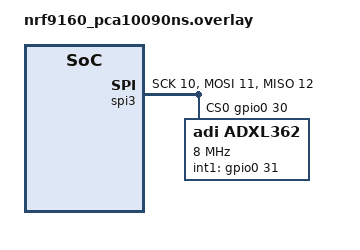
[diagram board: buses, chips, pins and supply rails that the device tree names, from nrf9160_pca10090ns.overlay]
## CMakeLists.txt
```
#
# Copyright (c) 2018 Nordic Semiconductor
#
# SPDX-License-Identifier: LicenseRef-BSD-5-Clause-Nordic
#

cmake_minimum_required(VERSION 3.8.2)

include(../../cmake/boilerplate.cmake)

include($ENV{ZEPHYR_BASE}/cmake/app/boilerplate.cmake NO_POLICY_SCOPE)
project(cat_tracker)

# NORDIC SDK APP START
target_sources(app PRIVATE src/main.c)
# NORDIC SDK APP END

# Include source directory
zephyr_include_directories(src)

# Application directories
add_subdirectory(src/gps_controller)
add_subdirectory(src/ui)
add_subdirectory(src/cloud_codec)
```

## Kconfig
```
#
# Copyright (c) 2018 Nordic Semiconductor ASA
#
# SPDX-License-Identifier: LicenseRef-BSD-5-Clause-Nordic
#

menu "Cat Tracker sample"

rsource "src/ui/Kconfig"

menu "GPS"

choice
	prompt "GPS device"
	default GPS_USE_SIM
	help
		Select from which device GPS data will be fetched.

config GPS_USE_SIM
	bool "Use GPS simulator"
	select GPS_SIM
	select GPS_SIM_TRIGGER
	help
		Use simulated GPS data.

config GPS_USE_EXTERNAL
	bool "User provided GPS device"
	help
		Provide a GPS device that location data will be fetched from and
		sent to nRF Cloud

endchoice

rsource "src/gps_controller/Kconfig"

config GPS_DEV_NAME
	string "GPS device name"
	default GPS_SIM_DEV_NAME if GPS_USE_SIM
	help
		GPS device from which location data will be fetched and sent
		to nRF Cloud.

config GPS_TRIGGER
	bool
	default GPS_SIM_TRIGGER if GPS_USE_SIM

config GPS_SIM_TRIGGER_TIMER_MSEC
	int
	default 120000 if POWER_OPTIMIZATION_ENABLE
	default 2000

endmenu	# GPS

menu "Firmware versioning"

config CAT_TRACKER_APP_VERSION
	string "The version of the cat tracker firmware"
	default "0.0.0-development"

endmenu # Firmware versioning

config POWER_OPTIMIZATION_ENABLE
	bool "Enable power optimization"
	default y
	select LTE_EDRX_REQ

menu "Cloud socket poll"

config CLOUD_BACKEND
	string
	default "AWS_IOT"

config MQTT_KEEPALIVE
	int
	default 1200

config CLOUD_POLL_STACKSIZE
	int
	default 4096

config CLOUD_POLL_PRIORITY
	int
	default 7

endmenu # Cloud socket poll

menu "Cloud codec"

config SERIALIZATION_JSON
	bool "Cloud communication enconding"
	default y
	select CJSON_LIB

config CIRCULAR_SENSOR_BUFFER_MAX
	int "Maximum amount of buffered sensor entries"
	default 10

config MAX_PER_ENCODED_ENTRIES
	int "Maximum amount of encoded and published sensor buffer entries"
	default 7

endmenu # Cloud codec

endmenu

menu "Zephyr Kernel"
source "$ZEPHYR_BASE/Kconfig.zephyr"
endmenu

module = CAT_TRACKER
module-str = Cat Tracker
source "${ZEPHYR_BASE}/subsys/logging/Kconfig.template.log_config"
```

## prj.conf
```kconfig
#
# Copyright (c) 2019 Nordic Semiconductor ASA
#
# SPDX-License-Identifier: LicenseRef-BSD-5-Clause-Nordic
#

# General config
CONFIG_NEWLIB_LIBC=y
CONFIG_NEWLIB_LIBC_FLOAT_PRINTF=y
CONFIG_ASSERT=y
CONFIG_REBOOT=y
CONFIG_LOG=y
CONFIG_LOG_IMMEDIATE=y

# Network
CONFIG_NETWORKING=y
CONFIG_NET_SOCKETS=y
CONFIG_NET_SOCKETS_OFFLOAD=y

# LTE link control
CONFIG_LTE_LINK_CONTROL=y
CONFIG_LTE_AUTO_INIT_AND_CONNECT=n
CONFIG_LTE_LINK_CONTROL_LOG_LEVEL_DBG=y

CONFIG_LTE_NETWORK_MODE_NBIOT_GPS=y
CONFIG_LTE_LEGACY_PCO_MODE=y
CONFIG_LTE_PSM_REQ_RPTAU="00000110"
CONFIG_LTE_PSM_REQ_RAT="00000000"

# Modem info
CONFIG_MODEM_INFO=y

# BSD library
CONFIG_BSD_LIBRARY=y
CONFIG_BSD_LIBRARY_TRACE_ENABLED=n

# Bifravst Cloud
CONFIG_CLOUD_API=y
CONFIG_BIFRAVST_CLOUD=y
CONFIG_BIFRAVST_CLOUD_LOG_LEVEL_DBG=y

# GPS
CONFIG_NRF9160_GPS=y
CONFIG_GPS_SIM=n
CONFIG_NRF9160_GPS_LOG_LEVEL_DBG=y
CONFIG_GPS_USE_EXTERNAL=y
CONFIG_GPS_DEV_NAME="NRF9160_GPS"

CONFIG_GPS_CONTROL=y
CONFIG_GPS_CONTROL_FIRST_FIX_CHECK_DELAY=10
CONFIG_GPS_CONTROL_FIX_CHECK_INTERVAL=30
CONFIG_GPS_CONTROL_FIX_TRY_TIME=360
CONFIG_GPS_CONTROL_PSM_ENABLE_ON_START=y
CONFIG_GPS_CONTROL_PSM_DISABLE_ON_STOP=n

# ADXL362
CONFIG_ADXL362=y
CONFIG_SPI=y
CONFIG_SENSOR=y
CONFIG_ADXL362_TRIGGER_GLOBAL_THREAD=y
CONFIG_ADXL362_INTERRUPT_MODE=1
CONFIG_ADXL362_ABS_REF_MODE=1
CONFIG_ADXL362_ACTIVITY_THRESHOLD=400
CONFIG_ADXL362_INACTIVITY_THRESHOLD=300

# Console
CONFIG_CONSOLE_SUBSYS=y
CONFIG_CONSOLE_HANDLER=y
CONFIG_CONSOLE_GETCHAR=y

# Heap and stacks
CONFIG_HEAP_MEM_POOL_SIZE=16384
CONFIG_MAIN_STACK_SIZE=8192
CONFIG_SYSTEM_WORKQUEUE_STACK_SIZE=2048
CONFIG_HW_STACK_PROTECTION=y

# Disable native network stack to save some memory
CONFIG_NET_IPV4=n
CONFIG_NET_IPV6=n
CONFIG_NET_UDP=n
CONFIG_NET_TCP=n

# Settings
CONFIG_FLASH=y
CONFIG_FLASH_PAGE_LAYOUT=y
CONFIG_FLASH_MAP=y
CONFIG_FCB=y
CONFIG_SETTINGS=y
CONFIG_SETTINGS_FCB=y
CONFIG_MPU_ALLOW_FLASH_WRITE=y

# MCUBOOT
CONFIG_BOOTLOADER_MCUBOOT=y
CONFIG_IMG_MANAGER=y
CONFIG_MCUBOOT_IMG_MANAGER=y
CONFIG_IMG_ERASE_PROGRESSIVELY=y

# AWS FOTA
CONFIG_AWS_FOTA=y
CONFIG_AWS_FOTA_LOG_LEVEL_DBG=y
CONFIG_AWS_JOBS_LOG_LEVEL_DBG=y
CONFIG_AWS_FOTA_VERSION_STRING_MAX_LEN=128
CONFIG_DFU_TARGET=y

# Download client (needed by AWS FOTA)
CONFIG_DOWNLOAD_CLIENT=y
CONFIG_DOWNLOAD_CLIENT_STACK_SIZE=4096

# Time managing
CONFIG_NRF9160_TIMESTAMP=y
CONFIG_NRF9160_TIMESTAMP_LOG_LEVEL_DBG=y

# Fatal error
CONFIG_RESET_ON_FATAL_ERROR=n
```

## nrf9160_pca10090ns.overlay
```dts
&spi3 {
	status = "ok";
	sck-pin = <10>;
	mosi-pin = <11>;
	miso-pin = <12>;
	cs-gpios = <&gpio0 30 0>, <&gpio0 7 0>;

	adxl362@0 {
		compatible = "adi,adxl362";
		label = "ADXL362";
		spi-max-frequency = <8000000>;
		reg = <0>;
		int1-gpios = <&gpio0 31 0>;
	};
};
```

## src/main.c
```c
#include <zephyr.h>
#include <stdio.h>
#include <string.h>
#include <logging/log_ctrl.h>
#include <power/reboot.h>
#include <device.h>
#include <sensor.h>
#include <drivers/gps.h>
#include <gps_controller.h>
#include <ui.h>
#include <net/cloud.h>
#include <cloud_codec.h>
#include <lte_lc.h>
#include <stdlib.h>
#include <modem_info.h>
#include <time.h>
#include <net/socket.h>
#include <dfu/mcuboot.h>
#include <nrf9160_timestamp.h>

#include <logging/log.h>
LOG_MODULE_REGISTER(cat_tracker, CONFIG_CAT_TRACKER_LOG_LEVEL);

#define AWS_CLOUD_CLIENT_ID_LEN 15
#define AWS "$aws/things/"
#define AWS_LEN (sizeof(AWS) - 1)
#define CFG_TOPIC AWS "%s/shadow/get/accepted/desired/cfg"
#define CFG_TOPIC_LEN (AWS_LEN + AWS_CLOUD_CLIENT_ID_LEN + 32)
#define BATCH_TOPIC "%s/batch"
#define BATCH_TOPIC_LEN (AWS_CLOUD_CLIENT_ID_LEN + 6)

enum lte_conn_actions {
	LTE_INIT,
	CHECK_LTE_CONNECTION,
};

static struct cloud_data_gps cir_buf_gps[CONFIG_CIRCULAR_SENSOR_BUFFER_MAX];

static struct cloud_data cloud_data = {
				.gps_timeout = 60,
				.active = true,
				.active_wait = 60,
				.passive_wait = 60,
				.movement_timeout = 3600,
				.accel_threshold = 100,
				.gps_found = false };

static struct cloud_endpoint sub_ep_topics_sub[1];
static struct cloud_endpoint pub_ep_topics_sub[1];

static char client_id_buf[AWS_CLOUD_CLIENT_ID_LEN + 1];
static char batch_topic[BATCH_TOPIC_LEN + 1];
static char cfg_topic[CFG_TOPIC_LEN + 1];

static struct modem_param_info modem_param;
static struct cloud_backend *cloud_backend;

static bool queued_entries;
static bool cloud_connected;

static int rsrp;
static int head_cir_buf;
static int num_queued_entries;

static struct k_delayed_work cloud_config_get_work;
static struct k_delayed_work cloud_send_sensor_data_work;
static struct k_delayed_work cloud_send_modem_data_work;
static struct k_delayed_work cloud_send_modem_data_dyn_work;
static struct k_delayed_work cloud_send_cfg_work;
static struct k_delayed_work cloud_send_buffered_data_work;
static struct k_delayed_work set_led_device_mode_work;
static struct k_delayed_work movement_timeout_work;

K_SEM_DEFINE(accel_trig_sem, 0, 1);
K_SEM_DEFINE(gps_timeout_sem, 0, 1);
K_SEM_DEFINE(cloud_conn_sem, 0, 1);

void error_handler(int err_code)
{
	LOG_ERR("err_handler, error code: %d", err_code);
	ui_led_set_pattern(UI_LED_ERROR_SYSTEM_FAULT);

#if !defined(CONFIG_DEBUG) && defined(CONFIG_REBOOT)
	LOG_PANIC();
	sys_reboot(0);
#else
	while (true) {
		k_cpu_idle();
	}
#endif
}

void bsd_recoverable_error_handler(uint32_t err)
{
	error_handler((int)err);
}

void k_sys_fatal_error_handler(unsigned int reason, const z_arch_esf_t *esf)
{
	ARG_UNUSED(esf);

	LOG_PANIC();
	LOG_ERR("k_sys_fatal_error_handler, error: %d", reason);
	error_handler(reason);
	CODE_UNREACHABLE;
}

static int lte_connect(enum lte_conn_actions action)
{
	int err;

	enum lte_lc_nw_reg_status nw_reg_status;

	ui_led_set_pattern(UI_LTE_CONNECTING);

	if (action == LTE_INIT) {
		if (IS_ENABLED(CONFIG_LTE_AUTO_INIT_AND_CONNECT)) {
			/* Do nothing, modem is already turned on
			 * and connected.
			 */
		} else {
			LOG_INF("Connecting to LTE network. ");
			LOG_INF("This may take several minutes.");
			err = lte_lc_init_and_connect();
			if (err == -ETIMEDOUT) {
				goto exit;
			} else if (err) {
				return err;
			}
		}
	} else if (action == CHECK_LTE_CONNECTION) {
		err = lte_lc_nw_reg_status_get(&nw_reg_status);
		if (err) {
			LOG_ERR("lte_lc_nw_reg_status error: %d", err);
			error_handler(err);
		}

		LOG_INF("Checking LTE connection...");

		switch (nw_reg_status) {
		case LTE_LC_NW_REG_REGISTERED_HOME:
		case LTE_LC_NW_REG_REGISTERED_ROAMING:
			break;
		default:
			goto exit;
		}
	}

	LOG_INF("Connected to LTE network");

	k_sem_give(&cloud_conn_sem);

	return 0;

exit:

	LOG_ERR("LTE link could not be established, or maintained");

	k_sem_take(&cloud_conn_sem, K_NO_WAIT);

	return 0;
}

static int check_active_wait(void)
{
	if (!cloud_data.active) {
		return cloud_data.passive_wait;
	}

	return cloud_data.active_wait;
}

static void set_current_time(struct gps_data gps_data)
{
	struct tm gps_time;

	gps_time.tm_year = gps_data.pvt.datetime.year;
	gps_time.tm_mon = gps_data.pvt.datetime.month;
	gps_time.tm_mday = gps_data.pvt.datetime.day;
	gps_time.tm_hour = gps_data.pvt.datetime.hour;
	gps_time.tm_min = gps_data.pvt.datetime.minute;
	gps_time.tm_sec = gps_data.pvt.datetime.seconds;

	date_time_set(&gps_time);
}

static void set_led_device_mode(void)
{
	if (!cloud_data.active) {
		ui_led_set_pattern(UI_LED_PASSIVE_MODE);
	} else {
		ui_led_set_pattern(UI_LED_ACTIVE_MODE);
	}
}

static double get_accel_thres(void)
{
	double accel_threshold_double;

	if (cloud_data.accel_threshold == 0) {
		accel_threshold_double = 0;
	} else {
		accel_threshold_double = cloud_data.accel_threshold / 10;
	}

	return accel_threshold_double;
}

static void populate_gps_buffer(struct gps_data gps_data)
{
	cloud_data.gps_found = true;

	head_cir_buf += 1;
	if (head_cir_buf == CONFIG_CIRCULAR_SENSOR_BUFFER_MAX - 1) {
		head_cir_buf = 0;
	}

	cir_buf_gps[head_cir_buf].longitude = gps_data.pvt.longitude;
	cir_buf_gps[head_cir_buf].latitude = gps_data.pvt.latitude;
	cir_buf_gps[head_cir_buf].altitude = gps_data.pvt.altitude;
	cir_buf_gps[head_cir_buf].accuracy = gps_data.pvt.accuracy;
	cir_buf_gps[head_cir_buf].speed = gps_data.pvt.speed;
	cir_buf_gps[head_cir_buf].heading = gps_data.pvt.heading;
	cir_buf_gps[head_cir_buf].gps_timestamp = k_uptime_get();
	cir_buf_gps[head_cir_buf].queued = true;

	LOG_INF("Entry: %d in gps_buffer filled", head_cir_buf);
}

static int get_voltage_level(void)
{
	int err;

	/* This solution of requesting all modem parameters should
	   be replaced with only requesting battery */
	err = modem_info_params_get(&modem_param);
	if (err) {
		LOG_ERR("modem_info_params_get, error: %d", err);
		return err;
	}

	cloud_data.bat_voltage = modem_param.device.battery.value;
	cloud_data.bat_timestamp = k_uptime_get();

	return 0;
}

static int modem_data_get(void)
{
	int err;

	cloud_data.roam_modem_data_ts = k_uptime_get();
	cloud_data.dev_modem_data_ts = k_uptime_get();

	err = modem_info_params_get(&modem_param);
	if (err) {
		LOG_ERR("Error getting modem_info: %d", err);
		return err;
	}

	return 0;
}

static void cloud_config_get(void)
{
	int err;

	ui_led_set_pattern(UI_CLOUD_PUBLISHING);

	struct cloud_msg msg = { .qos = CLOUD_QOS_AT_MOST_ONCE,
				 .endpoint.type = CLOUD_EP_TOPIC_STATE,
				 .buf = "",
				 .len = 0 };

	err = cloud_send(cloud_backend, &msg);
	if (err) {
		LOG_ERR("Cloud send failed, err: %d", err);
	}
}

static void cloud_send_cfg(void)
{
	int err;

	ui_led_set_pattern(UI_CLOUD_PUBLISHING);

	struct cloud_msg msg = {
		.qos = CLOUD_QOS_AT_MOST_ONCE,
		.endpoint.type = CLOUD_EP_TOPIC_MSG,
	};

	err = cloud_encode_cfg_data(&msg, &cloud_data);
	if (err == -EAGAIN) {
		LOG_INF("No change in device configuration");
		return;
	} else if (err) {
		LOG_ERR("Device configuration not encoded, error: %d", err);
		return;
	}

	err = cloud_send(cloud_backend, &msg);
	cloud_release_data(&msg);
	if (err) {
		LOG_ERR("Cloud send failed, err: %d", err);
		return;
	}
}

static void cloud_send_sensor_data(void)
{
	int err;

	ui_led_set_pattern(UI_CLOUD_PUBLISHING);

	struct cloud_msg msg = {
		.qos = CLOUD_QOS_AT_MOST_ONCE,
		.endpoint.type = CLOUD_EP_TOPIC_MSG,
	};

	err = get_voltage_level();
	if (err) {
		LOG_ERR("Error requesting voltage level %d", err);
		return;
	}

	err = cloud_encode_sensor_data(&msg, &cloud_data,
				       &cir_buf_gps[head_cir_buf]);
	if (err) {
		LOG_ERR("Error enconding message %d", err);
		return;
	}

	err = cloud_send(cloud_backend, &msg);
	cloud_release_data(&msg);
	if (err) {
		LOG_ERR("Cloud send failed, err: %d", err);
		return;
	}

	cloud_data.gps_found = false;
	cir_buf_gps[head_cir_buf].queued = false;
}

static void cloud_send_modem_data(bool include_dev_data)
{
	int err;

	ui_led_set_pattern(UI_CLOUD_PUBLISHING);

	struct cloud_msg msg = {
		.qos = CLOUD_QOS_AT_MOST_ONCE,
		.endpoint.type = CLOUD_EP_TOPIC_MSG,
	};

	err = modem_data_get();
	if (err) {
		LOG_ERR("modem_data_get, error: %d", err);
		return;
	}

	err = cloud_encode_modem_data(&msg, &cloud_data, &modem_param,
				      include_dev_data, rsrp);
	if (err) {
		LOG_ERR("Error encoding modem data, error: %d", err);
		return;
	}

	err = cloud_send(cloud_backend, &msg);
	cloud_release_data(&msg);
	if (err) {
		LOG_ERR("Cloud send failed, err: %d", err);
		return;
	}
}

static void cloud_send_buffered_data(void)
{
	int err;

	ui_led_set_pattern(UI_CLOUD_PUBLISHING);

	struct cloud_msg msg = {
		.qos = CLOUD_QOS_AT_MOST_ONCE,
		.endpoint = pub_ep_topics_sub[0],
	};

	/* Check if it exists queued entries in the gps buffer. */
	for (int i = 0; i < CONFIG_CIRCULAR_SENSOR_BUFFER_MAX; i++) {
		if (cir_buf_gps[i].queued) {
			queued_entries = true;
			num_queued_entries++;
		}
	}

	/* Encode and send queued entries in batches. */
	while (num_queued_entries > 0 && queued_entries) {
		err = cloud_encode_gps_buffer(&msg, cir_buf_gps);
		if (err) {
			LOG_ERR("Error encoding circular buffer: %d", err);
			goto exit;
		}

		err = cloud_send(cloud_backend, &msg);
		cloud_release_data(&msg);
		if (err) {
			LOG_ERR("Cloud send failed, err: %d", err);
			goto exit;
		}

		num_queued_entries -= CONFIG_CIRCULAR_SENSOR_BUFFER_MAX;
	}

exit:
	num_queued_entries = 0;
	queued_entries = false;
}

static void cloud_synchronize(void)
{
	k_delayed_work_submit(&cloud_config_get_work, K_NO_WAIT);
	k_delayed_work_submit(&cloud_send_cfg_work, K_SECONDS(5));
	k_delayed_work_submit(&cloud_send_modem_data_work, K_SECONDS(5));
}

static void cloud_update(void)
{
	if (k_sem_count_get(&cloud_conn_sem) && cloud_connected) {
		k_delayed_work_submit(&cloud_send_sensor_data_work,
				      K_NO_WAIT);
		k_delayed_work_submit(&cloud_send_cfg_work,
				      K_SECONDS(5));
		k_delayed_work_submit(&cloud_send_modem_data_dyn_work,
				      K_SECONDS(5));
		k_delayed_work_submit(&cloud_send_buffered_data_work,
				      K_SECONDS(5));
		k_delayed_work_submit(&set_led_device_mode_work,
				      K_SECONDS(5));
	}
}

static void set_led_device_mode_work_fn(struct k_work *work)
{
	set_led_device_mode();
}

static void cloud_config_get_work_fn(struct k_work *work)
{
	cloud_config_get();
}

static void cloud_send_sensor_data_work_fn(struct k_work *work)
{
	cloud_send_sensor_data();
}

static void cloud_send_cfg_work_fn(struct k_work *work)
{
	cloud_send_cfg();
}

static void cloud_send_modem_data_work_fn(struct k_work *work)
{
	cloud_send_modem_data(true);
}

static void cloud_send_modem_data_dyn_work_fn(struct k_work *work)
{
	cloud_send_modem_data(false);
}

static void cloud_send_buffered_data_work_fn(struct k_work *work)
{
	cloud_send_buffered_data();
}

static void movement_timeout_work_fn(struct k_work *work)
{
	if (!cloud_data.active) {
		LOG_INF("Movement timeout triggered");
		lte_connect(CHECK_LTE_CONNECTION);
		cloud_update();
	}

	k_delayed_work_submit(&movement_timeout_work,
			      K_SECONDS(cloud_data.movement_timeout));
}

static void work_init(void)
{
	k_delayed_work_init(&cloud_config_get_work,
			    cloud_config_get_work_fn);
	k_delayed_work_init(&cloud_send_sensor_data_work,
			    cloud_send_sensor_data_work_fn);
	k_delayed_work_init(&cloud_send_cfg_work,
			    cloud_send_cfg_work_fn);
	k_delayed_work_init(&cloud_send_modem_data_work,
			    cloud_send_modem_data_work_fn);
	k_delayed_work_init(&cloud_send_modem_data_dyn_work,
			    cloud_send_modem_data_dyn_work_fn);
	k_delayed_work_init(&cloud_send_buffered_data_work,
			    cloud_send_buffered_data_work_fn);
	k_delayed_work_init(&set_led_device_mode_work,
			    set_led_device_mode_work_fn);
	k_delayed_work_init(&movement_timeout_work,
			    movement_timeout_work_fn);
}

static void adxl362_trigger_handler(struct device *dev,
				    struct sensor_trigger *trig)
{
	static struct sensor_value accel[3];

	switch (trig->type) {
	case SENSOR_TRIG_THRESHOLD:

		if (sensor_sample_fetch(dev) < 0) {
			LOG_ERR("Sample fetch error");
			return;
		}

		sensor_channel_get(dev, SENSOR_CHAN_ACCEL_X, &accel[0]);
		sensor_channel_get(dev, SENSOR_CHAN_ACCEL_Y, &accel[1]);
		sensor_channel_get(dev, SENSOR_CHAN_ACCEL_Z, &accel[2]);

		double x = sensor_value_to_double(&accel[0]);
		double y = sensor_value_to_double(&accel[1]);
		double z = sensor_value_to_double(&accel[2]);

		if ((abs(x) > get_accel_thres()) ||
		    (abs(y) > get_accel_thres()) ||
		    (abs(z) > get_accel_thres())) {
			cloud_data.acc[0] = x;
			cloud_data.acc[1] = y;
			cloud_data.acc[2] = z;
			cloud_data.acc_timestamp = k_uptime_get();
			k_sem_give(&accel_trig_sem);
		}

		break;
	default:
		LOG_ERR("Unknown trigger");
	}
}

static void gps_trigger_handler(struct device *dev, struct gps_trigger *trigger)
{
	static u32_t fix_count;
	struct gps_data gps_data;

	ARG_UNUSED(trigger);

	if (++fix_count < CONFIG_GPS_CONTROL_FIX_COUNT) {
		return;
	}

	fix_count = 0;

	LOG_INF("gps control handler triggered!");

	gps_channel_get(dev, GPS_CHAN_PVT, &gps_data);
	set_current_time(gps_data);
	populate_gps_buffer(gps_data);
	k_sem_give(&gps_timeout_sem);
}

static void adxl362_init(void)
{
	struct device *dev = device_get_binding(DT_INST_0_ADI_ADXL362_LABEL);

	if (dev == NULL) {
		LOG_INF("Device get binding device");
		return;
	}

	if (IS_ENABLED(CONFIG_ADXL362_TRIGGER)) {
		struct sensor_trigger trig = { .chan = SENSOR_CHAN_ACCEL_XYZ };

		trig.type = SENSOR_TRIG_THRESHOLD;
		if (sensor_trigger_set(dev, &trig, adxl362_trigger_handler)) {
			LOG_ERR("Trigger set error");
			return;
		}
	}
}

void cloud_event_handler(const struct cloud_backend *const backend,
			 const struct cloud_event *const evt, void *user_data)
{
	ARG_UNUSED(user_data);

	int err;

	switch (evt->type) {
	case CLOUD_EVT_CONNECTED:
		LOG_INF("CLOUD_EVT_CONNECTED");
		cloud_synchronize();
		boot_write_img_confirmed();
		k_delayed_work_submit(&movement_timeout_work,
				      K_SECONDS(cloud_data.movement_timeout));
		cloud_connected = true;
		break;
	case CLOUD_EVT_READY:
		LOG_INF("CLOUD_EVT_READY");
		break;
	case CLOUD_EVT_DISCONNECTED:
		LOG_INF("CLOUD_EVT_DISCONNECTED");
		cloud_connected = false;
		break;
	case CLOUD_EVT_ERROR:
		LOG_ERR("CLOUD_EVT_ERROR");
		break;
	case CLOUD_EVT_FOTA_DONE:
		LOG_INF("CLOUD_EVT_FOTA_DONE");
		cloud_disconnect(cloud_backend);
		sys_reboot(0);
		break;
	case CLOUD_EVT_DATA_SENT:
		LOG_INF("CLOUD_EVT_DATA_SENT");
		break;
	case CLOUD_EVT_DATA_RECEIVED:
		LOG_INF("CLOUD_EVT_DATA_RECEIVED");
		err = cloud_decode_response(evt->data.msg.buf, &cloud_data);
		if (err) {
			LOG_ERR("Could not decode response %d", err);
		}
		break;
	case CLOUD_EVT_PAIR_REQUEST:
		LOG_INF("CLOUD_EVT_PAIR_REQUEST");
		break;
	case CLOUD_EVT_PAIR_DONE:
		LOG_INF("CLOUD_EVT_PAIR_DONE");
		break;
	default:
		LOG_ERR("Unknown cloud event type: %d", evt->type);
		break;
	}
}

void cloud_poll(void)
{
	int err;

connect:

	k_sem_take(&cloud_conn_sem, K_FOREVER);

	err = cloud_connect(cloud_backend);
	if (err) {
		LOG_ERR("cloud_connect failed: %d", err);
		goto connect;
	}

	struct pollfd fds[] = { { .fd = cloud_backend->config->socket,
				  .events = POLLIN } };

	while (true) {
		err = poll(fds, ARRAY_SIZE(fds),
			   K_SECONDS(CONFIG_MQTT_KEEPALIVE / 3));

		if (err < 0) {
			LOG_ERR("poll, error: %d", err);
			error_handler(err);
			continue;
		}

		if (err == 0) {
			cloud_ping(cloud_backend);
			continue;
		}

		if ((fds[0].revents & POLLIN) == POLLIN) {
			cloud_input(cloud_backend);
		}

		if ((fds[0].revents & POLLNVAL) == POLLNVAL) {
			LOG_ERR("Socket error: POLLNVAL");
			LOG_ERR("The cloud socket was unexpectedly closed.");
			break;
		}

		if ((fds[0].revents & POLLHUP) == POLLHUP) {
			LOG_ERR("Socket error: POLLHUP");
			LOG_ERR("Connection was closed by the cloud.");
			error_handler(-EIO);
			return;
		}

		if ((fds[0].revents & POLLERR) == POLLERR) {
			LOG_ERR("Socket error: POLLERR");
			LOG_ERR("Cloud connection was unexpectedly closed.");
			error_handler(-EIO);
			return;
		}
	}

	cloud_disconnect(cloud_backend);
	goto connect;
}

K_THREAD_DEFINE(cloud_poll_thread, CONFIG_CLOUD_POLL_STACKSIZE, cloud_poll,
		NULL, NULL, NULL, CONFIG_CLOUD_POLL_PRIORITY, 0, K_NO_WAIT);

static void modem_rsrp_handler(char rsrp_value)
{
	if (rsrp_value == 255) {
		return;
	}

	rsrp = rsrp_value;

	LOG_INF("Incoming RSRP status message, RSRP value is %d", rsrp);
}

static int modem_data_init(void)
{
	int err;

	err = modem_info_init();
	if (err) {
		LOG_INF("modem_info_init, error: %d", err);
		return err;
	}

	err = modem_info_params_init(&modem_param);
	if (err) {
		LOG_INF("modem_info_params_init, error: %d", err);
		return err;
	}

	err = modem_info_rsrp_register(modem_rsrp_handler);
	if (err) {
		LOG_INF("modem_info_rsrp_register, error: %d", err);
		return err;
	}

	return 0;
}

static int populate_app_endpoint_topics()
{
	int err;

	err = snprintf(batch_topic, sizeof(batch_topic), BATCH_TOPIC,
		       client_id_buf);
	if (err != BATCH_TOPIC_LEN) {
		return -ENOMEM;
	}

	pub_ep_topics_sub[0].str = batch_topic;
	pub_ep_topics_sub[0].len = BATCH_TOPIC_LEN;
	pub_ep_topics_sub[0].type = CLOUD_EP_TOPIC_BATCH;

	err = snprintf(cfg_topic, sizeof(cfg_topic), CFG_TOPIC,
		       client_id_buf);
	if (err != CFG_TOPIC_LEN) {
		return -ENOMEM;
	}

	sub_ep_topics_sub[0].str = cfg_topic;
	sub_ep_topics_sub[0].len = CFG_TOPIC_LEN;
	sub_ep_topics_sub[0].type = CLOUD_EP_TOPIC_CONFIG;

	err = cloud_ep_subscriptions_add(cloud_backend,
					 sub_ep_topics_sub,
					 ARRAY_SIZE(sub_ep_topics_sub));
	if (err) {
		LOG_INF("cloud_ep_subscriptions_add, error: %d", err);
		error_handler(err);
	}

	return 0;
}

static int cloud_setup(void)
{
	int err;

	cloud_backend = cloud_get_binding(CONFIG_CLOUD_BACKEND);
	__ASSERT(cloud_backend != NULL, "%s cloud backend not found",
		 CONFIG_CLOUD_BACKEND);

	err = modem_info_string_get(MODEM_INFO_IMEI, client_id_buf);
	if (err != AWS_CLOUD_CLIENT_ID_LEN) {
		LOG_ERR("modem_info_string_get, error: %d", err);
		return err;
	}

	LOG_INF("Device IMEI: %s", log_strdup(client_id_buf));

	/* Fetch IMEI from modem data and set IMEI as cloud connection ID **/
	cloud_backend->config->id = client_id_buf;
	cloud_backend->config->id_len = sizeof(client_id_buf);

	err = cloud_init(cloud_backend, cloud_event_handler);
	if (err) {
		LOG_ERR("cloud_init, error: %d", err);
		return err;
	}

	/* Populate cloud spesific endpoint topics */
	err = populate_app_endpoint_topics();
	if (err) {
		LOG_ERR("populate_app_endpoint_topics, error: %d", err);
		return err;
	}

	return err;
}

void main(void)
{
	int err;

	LOG_INF("The cat tracker has started");
	LOG_INF("Version: %s", log_strdup(CONFIG_CAT_TRACKER_APP_VERSION));

	work_init();
	adxl362_init();

	err = modem_data_init();
	if (err) {
		LOG_INF("modem_data_init, error: %d", err);
		error_handler(err);
	}

	err = cloud_setup();
	if (err) {
		LOG_INF("cloud_setup, error %d", err);
		error_handler(err);
	}

	err = ui_init();
	if (err) {
		LOG_INF("ui_init, error: %d", err);
		error_handler(err);
	}

	err = gps_control_init(gps_trigger_handler);
	if (err) {
		LOG_INF("gps_control_init, error %d", err);
		error_handler(err);
	}

	err = lte_connect(LTE_INIT);
	if (err) {
		LOG_INF("lte_connect, error: %d", err);
		error_handler(err);
	}

	nrf9160_time_init();

	/*Sleep so that the device manages to adapt
	  to its new configuration before a GPS search*/
	k_sleep(K_SECONDS(20));

	while (true) {
		/*Check current device mode*/
		if (!cloud_data.active) {
			if (!k_sem_take(&accel_trig_sem, K_FOREVER)) {
				LOG_INF("The cat is moving!");
			}
		}

		/*Start GPS search*/
		gps_control_start(K_NO_WAIT);

		/*Wait for GPS search timeout*/
		k_sem_take(&gps_timeout_sem, K_SECONDS(cloud_data.gps_timeout));

		/*Stop GPS search*/
		gps_control_stop(K_NO_WAIT);

		/*Check lte connection*/
		lte_connect(CHECK_LTE_CONNECTION);

		/*Send update to cloud if a connection has been established*/
		cloud_update();

		/*Sleep*/
		LOG_INF("Going to sleep for: %d seconds", check_active_wait());
		k_sleep(K_SECONDS(check_active_wait()));
	}
}
```
